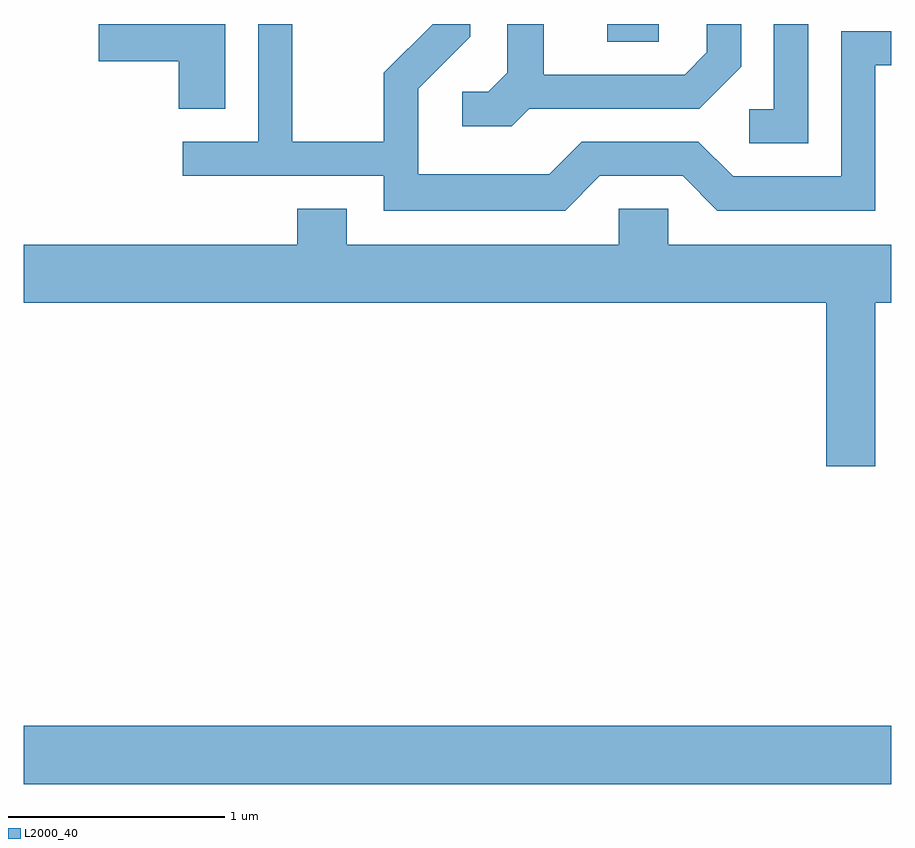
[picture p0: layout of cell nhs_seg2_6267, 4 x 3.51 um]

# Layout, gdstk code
import gdstk
lib = gdstk.Library(unit=1e-6, precision=1e-09)
def R(c, l, rs):  # rectangles x0, y0, x1, y1
    for r in rs: c.add(gdstk.rectangle(r[:2], r[2:], *l))
def P(c, l, *ps):  # polygons
    for p in ps: c.add(gdstk.Polygon(p, *l))
L2000_40 = (2000, 40)

nhs_seg2_6267 = lib.new_cell('nhs_seg2_6267')
R(nhs_seg2_6267, L2000_40, [(369.611,1068.296,373.611,1068.564), (372.301,1071.721,372.539,1071.802)])
P(nhs_seg2_6267, L2000_40, [(372.267,1071.101),(372.649,1071.101),(372.809,1070.941),(373.539,1070.941),(373.539,1071.611),(373.611,1071.611),(373.611,1071.769),(373.381,1071.769),(373.381,1071.099),(372.882,1071.099),(372.722,1071.259),(372.184,1071.259),(372.034,1071.109),(371.429,1071.109),(371.429,1071.504),(371.669,1071.744),(371.669,1071.802),(371.496,1071.802),(371.271,1071.577),(371.271,1071.259),(370.849,1071.259),(370.849,1071.802),(370.691,1071.802),(370.691,1071.259),(370.343,1071.259),(370.343,1071.101),(371.271,1071.101),(371.271,1070.941),(372.107,1070.941)],
  [(370.539,1071.802),(369.956,1071.802),(369.956,1071.631),(370.326,1071.631),(370.326,1071.411),(370.539,1071.411)],
  [(371.942,1071.411),(372.727,1071.411),(372.919,1071.604),(372.919,1071.802),(372.761,1071.802),(372.761,1071.672),(372.659,1071.569),(372.009,1071.569),(372.009,1071.802),(371.841,1071.802),(371.841,1071.577),(371.754,1071.489),(371.633,1071.489),(371.633,1071.331),(371.862,1071.331)],
  [(373.229,1071.802),(373.071,1071.802),(373.071,1071.409),(372.958,1071.409),(372.958,1071.251),(373.229,1071.251)],
  [(373.539,1070.516),(373.611,1070.516),(373.611,1070.784),(372.584,1070.784),(372.584,1070.949),(372.356,1070.949),(372.356,1070.784),(371.099,1070.784),(371.099,1070.949),(370.871,1070.949),(370.871,1070.784),(369.611,1070.784),(369.611,1070.516),(373.311,1070.516),(373.311,1069.761),(373.539,1069.761)])

lib.write_gds('nhs_seg2_6267.gds')
